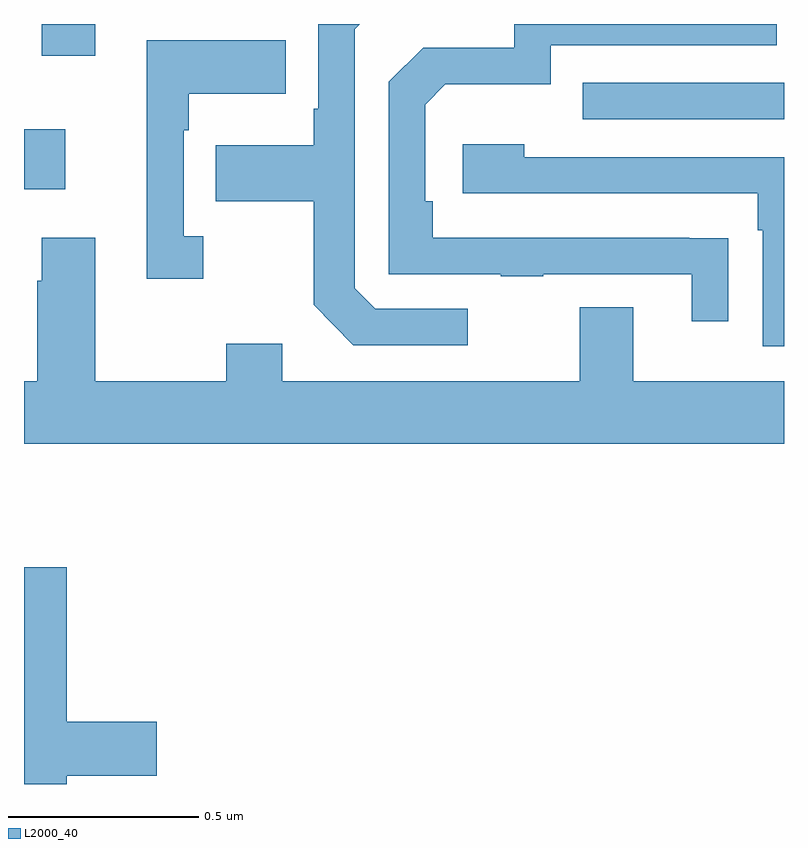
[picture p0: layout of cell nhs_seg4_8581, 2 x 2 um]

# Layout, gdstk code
import gdstk
lib = gdstk.Library(unit=1e-6, precision=1e-09)
def R(c, l, rs):  # rectangles x0, y0, x1, y1
    for r in rs: c.add(gdstk.rectangle(r[:2], r[2:], *l))
def P(c, l, *ps):  # polygons
    for p in ps: c.add(gdstk.Polygon(p, *l))
L2000_40 = (2000, 40)

nhs_seg4_8581 = lib.new_cell('nhs_seg4_8581')
R(nhs_seg4_8581, L2000_40, [(216,821.465,216.109,821.623), (217.471,821.649,218,821.745), (216.047,821.817,216.187,821.9)])
P(nhs_seg4_8581, L2000_40, [(217.168,821.151),(216.924,821.151),(216.87,821.205),(216.87,821.886),(216.884,821.9),(216.774,821.9),(216.774,821.677),(216.762,821.677),(216.762,821.581),(216.505,821.581),(216.505,821.434),(216.762,821.434),(216.762,821.161),(216.867,821.055),(217.168,821.055)],
  [(217.853,821.336),(217.751,821.336),(217.751,821.337),(217.076,821.337),(217.076,821.434),(217.056,821.434),(217.056,821.688),(217.109,821.741),(217.386,821.741),(217.386,821.844),(217.981,821.844),(217.981,821.9),(217.29,821.9),(217.29,821.838),(217.05,821.838),(216.96,821.748),(216.96,821.241),(217.255,821.241),(217.255,821.236),(217.367,821.236),(217.367,821.241),(217.757,821.241),(217.757,821.118),(217.853,821.118)],
  [(216.472,821.342),(216.42,821.342),(216.42,821.621),(216.433,821.621),(216.433,821.717),(216.689,821.717),(216.689,821.857),(216.323,821.857),(216.323,821.229),(216.472,821.229)],
  [(218,821.55),(217.316,821.55),(217.316,821.584),(217.155,821.584),(217.155,821.454),(217.931,821.454),(217.931,821.357),(217.944,821.357),(217.944,821.052),(218,821.052)],
  [(218,820.96),(217.603,820.96),(217.603,821.155),(217.463,821.155),(217.463,820.96),(216.679,820.96),(216.679,821.059),(216.532,821.059),(216.532,820.96),(216.187,820.96),(216.187,821.338),(216.047,821.338),(216.047,821.225),(216.035,821.225),(216.035,820.96),(216,820.96),(216,820.796),(218,820.796)],
  [(216.113,819.922),(216.349,819.922),(216.349,820.064),(216.113,820.064),(216.113,820.471),(216,820.471),(216,819.9),(216.113,819.9)])

lib.write_gds('nhs_seg4_8581.gds')
